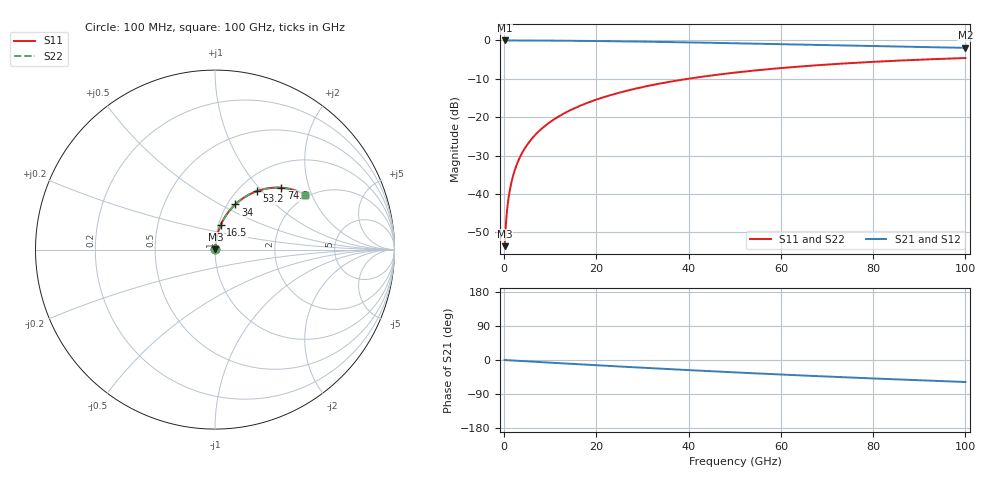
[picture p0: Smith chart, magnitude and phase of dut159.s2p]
! Touchstone file exported from HFSS 2026.1.0
!  File:  C:/ffzhzh/LocalFiles/Ansys_Project_Files/temp_train_RDL_159_1783500064_41296.aedt
!  Generated:  04:42:07 PM Jul  8, 2026
!  Design:  RDL
!  Project:  temp_train_RDL_159_1783500064_41296
! Variables:
!  h_bsmrdl = 2um
!  h_ox = 20um
!  h_rdl = 5um
!  h_sub = 80um
!  h_tmrdl = 2.16um
!  h_tsv = 80um
!  h_via = 3um
!  l_bsmrdl = 300um
!  l_sub = 539.92um
!  l_tmrdl = 139.92um
!  m_sub = 200um
!  pitch = 44.16um
!  r_tsv = 6um
!  s_tmrdl = 10um
!  w_bsmrdl = 18um
!  w_sub = 500um
!  w_tmrdl = 14.68um
!  x_tsv_center1 = 147.26um
!  x_tsv_center2 = 465.26um
!  x_tsv_center3 = 619.86um
!  x_tsv_center4 = 937.86um
!  x_tsv_center5 = 1092.46um
!  x_tsv_center6 = 1410.46um
# GHz S MA R 50.000000
! Terminal data exported
! Port[1] = TM_RDL1_1_T1
! Port[2] = TM_RDL1_1_T2
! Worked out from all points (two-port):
!   1000 points, 100 MHz to 100 GHz, reference 50 ohm
!   highest |S21| = -0.02 dB at 100 MHz (marker M1); lowest = -1.9 dB at 100 GHz (marker M2)
!   |S21| within 3 dB of the highest: start of sweep to end of sweep
!   lowest |S11| = -53.6 dB at 100 MHz (marker M3), VSWR 1.00, Z = 50.2 + j0.0928 ohm
!   |S11| at or under -10 dB: start of sweep to 39.85 GHz
!   |S22| runs from -53.6 to -4.6 dB; largest |S21 - S12| = 2.7e-15
!   S11 on the Smith chart (normalised r, x): 100 MHz: 1.00, +0.00; 16.5 GHz: 1.03, +0.29; 34 GHz: 1.09, +0.59; 53.2 GHz: 1.21, +0.93; 74.9 GHz: 1.44, +1.34; 100 GHz: 1.92, +1.80
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0.1  0.002092 26.2  0.9981 -0.1  0.9981 -0.1  0.002092 26.2
! Gamma 0 0 0 0
! Port Impedance 50 0 50 0
0.4  0.004159 61.8  0.998 -0.3  0.998 -0.3  0.004159 61.8
0.9  0.008374 74.8  0.9979 -0.6  0.9979 -0.6  0.008374 74.8
1.2  0.01094 77.7  0.9978 -0.9  0.9978 -0.9  0.01094 77.7
1.6  0.01437 79.9  0.9977 -1.1  0.9977 -1.1  0.01437 79.9
2.1  0.01869 81.5  0.9975 -1.5  0.9975 -1.5  0.01869 81.5
2.7  0.02387 82.4  0.9974 -1.9  0.9974 -1.9  0.02387 82.4
4.2  0.03687 83.2  0.9968 -3.0  0.9968 -3.0  0.03687 83.2
6.3  0.05502 82.8  0.9958 -4.4  0.9958 -4.4  0.05502 82.8
9  0.07822 81.5  0.994 -6.3  0.994 -6.3  0.07822 81.5
12.4  0.1071 79.5  0.9908 -8.7  0.9908 -8.7  0.1071 79.5
16.5  0.1411 76.9  0.986 -11.5  0.986 -11.5  0.1411 76.9
16.8  0.1436 76.7  0.9856 -11.7  0.9856 -11.7  0.1436 76.7
24.2  0.2027 72.0  0.9743 -16.6  0.9743 -16.6  0.2027 72.0
33.4  0.2714 66.2  0.9566 -22.6  0.9566 -22.6  0.2714 66.2
34  0.2757 65.8  0.9553 -22.9  0.9553 -22.9  0.2757 65.8
50.1  0.381 56.2  0.9177 -32.7  0.9177 -32.7  0.381 56.2
53.2  0.399 54.5  0.91 -34.5  0.91 -34.5  0.399 54.5
66.7  0.4692 47.2  0.8758 -41.9  0.8758 -41.9  0.4692 47.2
74.9  0.5054 43.0  0.8555 -46.2  0.8555 -46.2  0.5054 43.0
83.4  0.5381 38.9  0.8354 -50.4  0.8354 -50.4  0.5381 38.9
100  0.5893 31.3  0.8004 -58.0  0.8004 -58.0  0.5893 31.3
